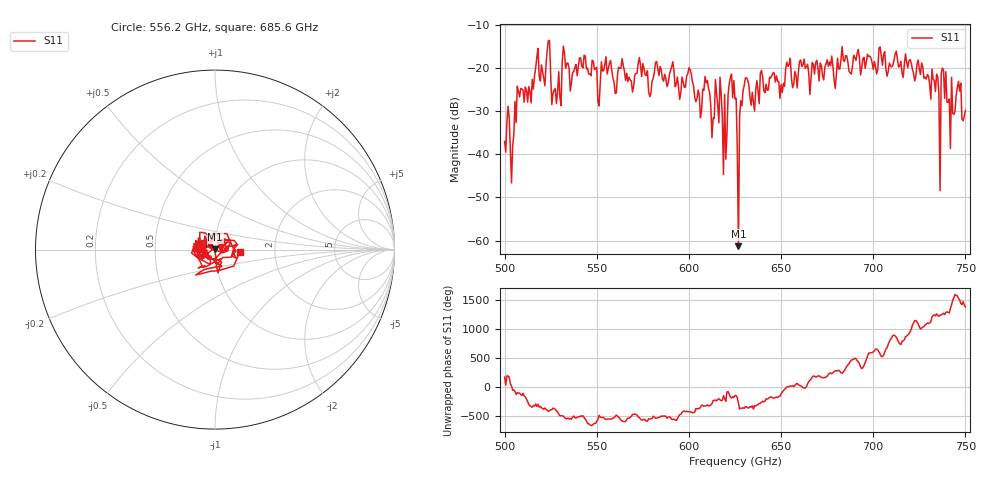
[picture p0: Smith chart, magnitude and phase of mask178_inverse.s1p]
!Created with skrf (http://scikit-rf.org).
# GHz S MA R 50.0
!freq magS11 angS11
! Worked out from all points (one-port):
!   401 points, 500 GHz to 750 GHz, reference 50 ohm
!   lowest |S11| = -61.3 dB at 626.9 GHz (marker M1), VSWR 1.00, Z = 50 + j0.0808 ohm
!   |S11| at or under -10 dB: start of sweep to end of sweep
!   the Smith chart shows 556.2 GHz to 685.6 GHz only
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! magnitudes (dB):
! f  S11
! 500 GHz  -37.0
! 503.8 GHz  -46.6
! 508.1 GHz  -26.7
! 517.5 GHz  -17.4
! 523.8 GHz  -13.6
! 526.9 GHz  -25.1
! 531.2 GHz  -18.6
! 562.5 GHz  -20.1
! 593.8 GHz  -22.1
! 610 GHz  -22.9
! 612.5 GHz  -36.2
! 616.2 GHz  -32.7
! 619.4 GHz  -26.1
! 622.5 GHz  -22.2
! 625 GHz  -27.1
! 626.9 GHz  -61.3
! 630.6 GHz  -22.3
! 634.4 GHz  -25.6
! 656.2 GHz  -24.5
! 687.5 GHz  -21.1
! 718.8 GHz  -19.9
! 733.8 GHz  -25.4
! 735 GHz  -22.0
! 737.5 GHz  -20.0
! 738.1 GHz  -20.4
! 743.1 GHz  -30.5
! 746.2 GHz  -23.1
! 750 GHz  -29.8
